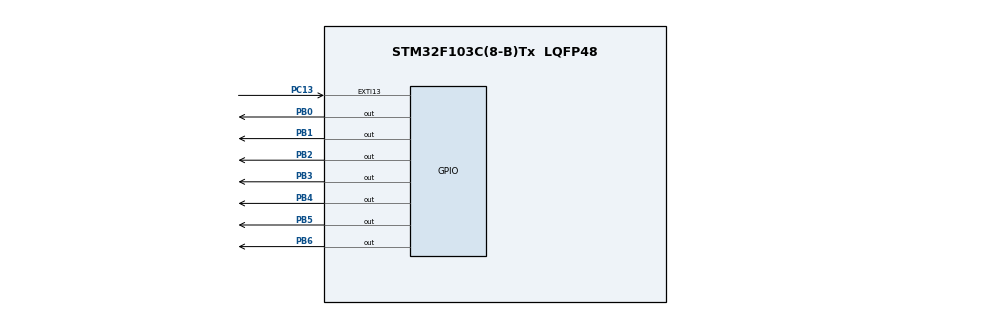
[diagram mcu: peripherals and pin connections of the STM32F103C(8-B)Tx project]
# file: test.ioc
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Mcu.Family=STM32F1
Mcu.Name=STM32F103C(8-B)Tx
Mcu.Package=LQFP48
NVIC.PriorityGroup=NVIC_PRIORITYGROUP_4
PA13.Mode=Serial_Wire
PA13.Signal=SYS_JTMS-SWDIO
PA14.Mode=Serial_Wire
PA14.Signal=SYS_JTCK-SWCLK
PB0.Signal=GPIO_Output
PB1.Signal=GPIO_Output
PB2.Signal=GPIO_Output
PB3.Signal=GPIO_Output
PB4.Signal=GPIO_Output
PB5.Signal=GPIO_Output
PB6.Signal=GPIO_Output
PC13-TAMPER-RTC.Signal=GPXTI13
ProjectManager.HeapSize=0x200
ProjectManager.StackSize=0x400
ProjectManager.TargetToolchain=MDK-ARM V5.32
RCC.APB1Freq_Value=8000000
RCC.APB2Freq_Value=8000000
board=custom

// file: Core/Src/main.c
/* USER CODE BEGIN Header */
/**
  ******************************************************************************
  * @file           : main.c
  * @brief          : Main program body
  ******************************************************************************
  * @attention
  *
  * Copyright (c) 2022 STMicroelectronics.
  * All rights reserved.
  *
  * This software is licensed under terms that can be found in the LICENSE file
  * in the root directory of this software component.
  * If no LICENSE file comes with this software, it is provided AS-IS.
  *
  ******************************************************************************
  */
/* USER CODE END Header */
#include "main.h"

/* USER CODE BEGIN PV */
uint8_t state;
uint8_t number;
/* USER CODE END PV */

void SystemClock_Config(void);
static void MX_GPIO_Init(void);

/* USER CODE BEGIN 0 */
uint8_t LED7_HEX[] = {0xC0, 0xF9, 0xA4, 0xB0, 0x99, 0x92, 0x82, 0xF8, 0x80, 0x90};

void HAL_GPIO_EXTI_Callback(uint16_t GPIO_Pin)
{
  /* Prevent unused argument(s) compilation warning */
  UNUSED(GPIO_Pin);
  /* NOTE: This function Should not be modified, when the callback is needed,
           the HAL_GPIO_EXTI_Callback could be implemented in the user file
   */
	if( GPIO_Pin == GPIO_PIN_13){
		state = 1;
	}
}
/* USER CODE END 0 */

int main(void)
{

  /* MCU Configuration--------------------------------------------------------*/

  /* Reset of all peripherals, Initializes the Flash interface and the Systick. */
  HAL_Init();

  /* Configure the system clock */
  SystemClock_Config();

  /* Initialize all configured peripherals */
  MX_GPIO_Init();

  /* Infinite loop */
  while (1)
  {

    /* USER CODE BEGIN 3 */
		if(state == 1){
			if(number ==9){
				number = 0;
			}
			else{
				number ++;
			}
			state = 0;
			else if(number == 0){
				number = 9;
			} else{
				number --;
			}

		}
  /* USER CODE END 3 */
}

void SystemClock_Config(void)
{
  RCC_OscInitTypeDef RCC_OscInitStruct = {0};
  RCC_ClkInitTypeDef RCC_ClkInitStruct = {0};

  /** Initializes the RCC Oscillators according to the specified parameters
  * in the RCC_OscInitTypeDef structure.
  */
  RCC_OscInitStruct.OscillatorType = RCC_OSCILLATORTYPE_HSI;
  RCC_OscInitStruct.HSIState = RCC_HSI_ON;
  RCC_OscInitStruct.HSICalibrationValue = RCC_HSICALIBRATION_DEFAULT;
  RCC_OscInitStruct.PLL.PLLState = RCC_PLL_NONE;
  if (HAL_RCC_OscConfig(&RCC_OscInitStruct) != HAL_OK)
  {
    Error_Handler();
  }

  /** Initializes the CPU, AHB and APB buses clocks
  */
  RCC_ClkInitStruct.ClockType = RCC_CLOCKTYPE_HCLK|RCC_CLOCKTYPE_SYSCLK
                              |RCC_CLOCKTYPE_PCLK1|RCC_CLOCKTYPE_PCLK2;
  RCC_ClkInitStruct.SYSCLKSource = RCC_SYSCLKSOURCE_HSI;
  RCC_ClkInitStruct.AHBCLKDivider = RCC_SYSCLK_DIV1;
  RCC_ClkInitStruct.APB1CLKDivider = RCC_HCLK_DIV1;
  RCC_ClkInitStruct.APB2CLKDivider = RCC_HCLK_DIV1;

  if (HAL_RCC_ClockConfig(&RCC_ClkInitStruct, FLASH_LATENCY_0) != HAL_OK)
  {
    Error_Handler();
  }
}

static void MX_GPIO_Init(void)
{
  GPIO_InitTypeDef GPIO_InitStruct = {0};

  /* GPIO Ports Clock Enable */
  __HAL_RCC_GPIOC_CLK_ENABLE();
  __HAL_RCC_GPIOB_CLK_ENABLE();
  __HAL_RCC_GPIOA_CLK_ENABLE();

  /*Configure GPIO pin Output Level */
  HAL_GPIO_WritePin(GPIOB, GPIO_PIN_0|GPIO_PIN_1|GPIO_PIN_2|GPIO_PIN_3
                          |GPIO_PIN_4|GPIO_PIN_5|GPIO_PIN_6, GPIO_PIN_RESET);

  /*Configure GPIO pin : PC13 */
  GPIO_InitStruct.Pin = GPIO_PIN_13;
  GPIO_InitStruct.Mode = GPIO_MODE_IT_RISING;
  GPIO_InitStruct.Pull = GPIO_NOPULL;
  HAL_GPIO_Init(GPIOC, &GPIO_InitStruct);

  /*Configure GPIO pins : PB0 PB1 PB2 PB3
                           PB4 PB5 PB6 */
  GPIO_InitStruct.Pin = GPIO_PIN_0|GPIO_PIN_1|GPIO_PIN_2|GPIO_PIN_3
                          |GPIO_PIN_4|GPIO_PIN_5|GPIO_PIN_6;
  GPIO_InitStruct.Mode = GPIO_MODE_OUTPUT_PP;
  GPIO_InitStruct.Pull = GPIO_NOPULL;
  GPIO_InitStruct.Speed = GPIO_SPEED_FREQ_LOW;
  HAL_GPIO_Init(GPIOB, &GPIO_InitStruct);

}

void Error_Handler(void)
{
  __disable_irq();
  while (1)
  {
  }
}
